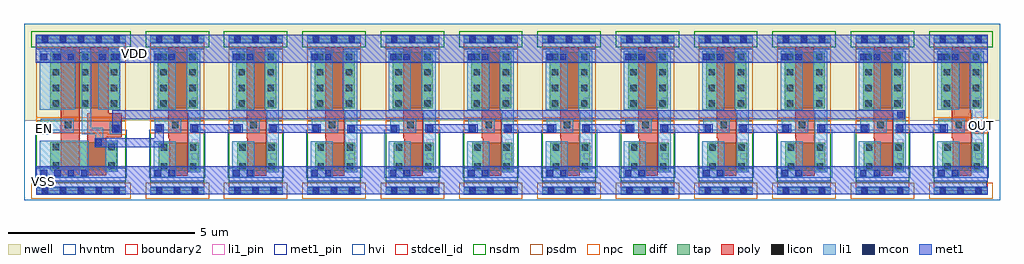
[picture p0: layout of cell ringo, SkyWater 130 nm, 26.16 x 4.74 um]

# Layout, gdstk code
import gdstk
lib = gdstk.Library(unit=1e-6, precision=1e-08)
def R(c, l, rs):  # rectangles x0, y0, x1, y1
    for r in rs: c.add(gdstk.rectangle(r[:2], r[2:], *l))
def A(c, l, x, y, w, h, nx, ny, dx, dy):  # array of equal rectangles
    R(c, l, [(x+i*dx, y+j*dy, x+i*dx+w, y+j*dy+h) for i in range(nx) for j in range(ny)])
def P(c, l, *ps):  # polygons
    for p in ps: c.add(gdstk.Polygon(p, *l))
nwell = (64, 20)
diff = (65, 20)
tap = (65, 44)
poly = (66, 20)
licon = (66, 44)
li1_pin = (67, 16)
li1 = (67, 20)
mcon = (67, 44)
met1_pin = (68, 16)
met1 = (68, 20)
hvi = (75, 20)
stdcell_id = (81, 4)
nsdm = (93, 44)
psdm = (94, 20)
npc = (95, 20)
hvntm = (125, 20)
boundary2 = (236, 0)

sky130_fd_sc_hvl__nand2_ = lib.new_cell('sky130_fd_sc_hvl__nand2_1')
R(sky130_fd_sc_hvl__nand2_, nwell, [(-0.33,1.88,2.73,4.48)])
R(sky130_fd_sc_hvl__nand2_, diff, [(0.38,0.55,2.16,1.3), (0.38,2.21,2.23,3.71)])
R(sky130_fd_sc_hvl__nand2_, tap, [(0,-0.08,2.4,0.08), (0,3.98,2.4,4.15)])
R(sky130_fd_sc_hvl__nand2_, poly, [(0.66,0.42,1.16,3.84)])
P(sky130_fd_sc_hvl__nand2_, poly, [(1.37,0.42),(1.37,2.08),(1.44,2.08),(1.44,3.84),(1.94,3.84),(1.94,2.08),(2.29,2.08),(2.29,1.43),(1.87,1.43),(1.87,0.42)])
A(sky130_fd_sc_hvl__nand2_, licon, 0.15, -0.08, 0.17, 0.16, 5, 1, 0.48, 0)
A(sky130_fd_sc_hvl__nand2_, licon, 0.44, 2.25, 0.17, 0.17, 3, 3, 0.78, 0.42)
A(sky130_fd_sc_hvl__nand2_, licon, 0.44, 3.5, 0.17, 0.17, 3, 1, 0.78, 0)
A(sky130_fd_sc_hvl__nand2_, licon, 0.15, 3.98, 0.17, 0.17, 5, 1, 0.48, 0)
R(sky130_fd_sc_hvl__nand2_, licon, [(0.44,0.59,0.61,0.76), (1.93,0.59,2.1,0.76), (0.44,1.09,0.61,1.26), (1.93,1.09,2.1,1.26), (2.02,1.6,2.19,1.77), (0.76,1.68,0.93,1.85)])
R(sky130_fd_sc_hvl__nand2_, li1_pin, [(1.59,1.21,1.76,1.38), (0.15,1.58,0.32,1.75), (0.63,1.58,0.8,1.75), (2.07,1.58,2.24,1.75)])
R(sky130_fd_sc_hvl__nand2_, li1, [(0,-0.08,2.4,0.08), (0.09,0.36,1.4,1.34), (1.97,1.52,2.27,1.85), (0.12,1.55,1.01,1.93), (0.09,2.17,1.04,3.75), (1.66,2.17,2.25,3.75), (0,3.98,2.4,4.15)])
P(sky130_fd_sc_hvl__nand2_, li1, [(1.85,0.51),(1.85,1.17),(1.58,1.17),(1.58,1.52),(1.22,1.52),(1.22,3.75),(1.47,3.75),(1.47,1.69),(1.79,1.69),(1.79,1.34),(2.18,1.34),(2.18,0.51)])
A(sky130_fd_sc_hvl__nand2_, mcon, 0.12, 0.39, 0.17, 0.17, 4, 1, 0.36, 0)
A(sky130_fd_sc_hvl__nand2_, mcon, 0.12, 3.5, 0.17, 0.17, 3, 1, 0.36, 0)
R(sky130_fd_sc_hvl__nand2_, mcon, [(0.15,-0.08,0.32,0.08), (0.15,-0.08,0.32,0.08), (0.63,-0.08,0.8,0.08), (0.63,-0.08,0.8,0.08), (1.11,-0.08,1.28,0.08), (1.11,-0.08,1.28,0.08), (1.59,-0.08,1.76,0.08), (1.59,-0.08,1.76,0.08), (2.07,-0.08,2.24,0.08), (2.07,-0.08,2.24,0.08), (1.69,3.5,1.86,3.67), (2.05,3.5,2.22,3.67), (0.15,3.98,0.32,4.15), (0.15,3.98,0.32,4.15), (0.63,3.98,0.8,4.15), (0.63,3.98,0.8,4.15), (1.11,3.98,1.28,4.15), (1.11,3.98,1.28,4.15), (1.59,3.98,1.76,4.15), (1.59,3.98,1.76,4.15), (2.07,3.98,2.24,4.15), (2.07,3.98,2.24,4.15)])
R(sky130_fd_sc_hvl__nand2_, met1_pin, [(0,0,2.4,0.11), (0,0.25,2.4,0.62), (0,3.44,2.4,3.81), (0,3.95,2.4,4.07)])
R(sky130_fd_sc_hvl__nand2_, met1, [(0,-0.11,2.4,0.11), (0,0.25,2.4,0.62), (0,3.44,2.4,3.81), (0,3.95,2.4,4.18)])
R(sky130_fd_sc_hvl__nand2_, hvi, [(-0.33,-0.26,2.73,4.48)])
R(sky130_fd_sc_hvl__nand2_, stdcell_id, [(0,0,2.4,4.07)])
R(sky130_fd_sc_hvl__nand2_, nsdm, [(0,0.21,2.4,1.88), (-0.13,3.85,2.53,4.28), (0,3.85,2.4,4.07)])
R(sky130_fd_sc_hvl__nand2_, psdm, [(-0.13,-0.21,2.53,0.21)])
P(sky130_fd_sc_hvl__nand2_, psdm, [(0,1.88),(0,3.85),(2.4,3.85),(2.4,1.88),(1.04,1.88),(1.04,1.96),(0.65,1.96),(0.65,1.88)])
P(sky130_fd_sc_hvl__nand2_, npc, [(1.92,1.5),(1.92,1.54),(0,1.54),(0,1.97),(2.4,1.97),(2.4,1.5)])
R(sky130_fd_sc_hvl__nand2_, hvntm, [(-0.03,0.35,2.43,1.64)])
R(sky130_fd_sc_hvl__nand2_, boundary2, [(0,0,2.4,4.07)])
sky130_fd_sc_hvl__nand2_.add(gdstk.Label('A', (2.16,1.66), layer=67, texttype=5))
sky130_fd_sc_hvl__nand2_.add(gdstk.Label('Y', (1.68,1.29), layer=67, texttype=5))
sky130_fd_sc_hvl__nand2_.add(gdstk.Label('B', (0.24,1.66), layer=67, texttype=5))
sky130_fd_sc_hvl__nand2_.add(gdstk.Label('B', (0.72,1.66), layer=67, texttype=5))
sky130_fd_sc_hvl__nand2_.add(gdstk.Label('nand2_1', (0,0), layer=83, texttype=44))
sky130_fd_sc_hvl__nand2_.add(gdstk.Label('VGND', (1.2,0.44), layer=68, texttype=5))
sky130_fd_sc_hvl__nand2_.add(gdstk.Label('VNB', (1.2,0.06), layer=68, texttype=5))
sky130_fd_sc_hvl__nand2_.add(gdstk.Label('VPWR', (1.2,3.63), layer=68, texttype=5))
sky130_fd_sc_hvl__nand2_.add(gdstk.Label('VPB', (1.2,4.01), layer=68, texttype=5))

sky130_fd_sc_hvl__inv_1 = lib.new_cell('sky130_fd_sc_hvl__inv_1')
R(sky130_fd_sc_hvl__inv_1, nwell, [(-0.33,1.88,1.77,4.48)])
R(sky130_fd_sc_hvl__inv_1, diff, [(0.22,0.53,1.29,1.28), (0.2,2.21,1.27,3.71)])
R(sky130_fd_sc_hvl__inv_1, tap, [(0,-0.08,1.44,0.08), (0,3.98,1.44,4.15)])
P(sky130_fd_sc_hvl__inv_1, poly, [(0.5,0.4),(0.5,1.41),(0.48,1.41),(0.48,3.84),(0.98,3.84),(0.98,2.08),(1,2.08),(1,0.4)])
A(sky130_fd_sc_hvl__inv_1, licon, 0.15, -0.08, 0.17, 0.16, 3, 1, 0.48, 0)
A(sky130_fd_sc_hvl__inv_1, licon, 0.26, 2.25, 0.17, 0.17, 1, 3, 0, 0.42)
A(sky130_fd_sc_hvl__inv_1, licon, 1.04, 2.25, 0.17, 0.17, 1, 3, 0, 0.42)
A(sky130_fd_sc_hvl__inv_1, licon, 0.15, 3.98, 0.17, 0.17, 3, 1, 0.48, 0)
R(sky130_fd_sc_hvl__inv_1, licon, [(0.28,0.57,0.45,0.74), (1.06,0.57,1.23,0.74), (0.28,1.07,0.45,1.24), (1.06,1.07,1.23,1.24), (0.58,1.68,0.75,1.85), (0.26,3.5,0.43,3.67), (1.04,3.5,1.21,3.67)])
A(sky130_fd_sc_hvl__inv_1, li1_pin, 0.15, 1.58, 0.17, 0.17, 3, 1, 0.48, 0)
A(sky130_fd_sc_hvl__inv_1, li1_pin, 1.11, 1.95, 0.17, 0.17, 1, 4, 0, 0.37)
R(sky130_fd_sc_hvl__inv_1, li1_pin, [(1.11,0.84,1.28,1.01), (1.11,1.21,1.28,1.38)])
R(sky130_fd_sc_hvl__inv_1, li1, [(0,-0.08,1.44,0.08), (0.09,0.36,0.68,1.32), (0.12,1.55,0.83,1.93), (0.09,2.17,0.68,3.75), (0,3.98,1.44,4.15)])
P(sky130_fd_sc_hvl__inv_1, li1, [(1.01,0.49),(1.01,2.17),(0.96,2.17),(0.96,3.75),(1.34,3.75),(1.34,0.49)])
R(sky130_fd_sc_hvl__inv_1, mcon, [(0.15,-0.08,0.32,0.08), (0.15,-0.08,0.32,0.08), (0.63,-0.08,0.8,0.08), (0.63,-0.08,0.8,0.08), (1.11,-0.08,1.28,0.08), (1.11,-0.08,1.28,0.08), (0.12,0.39,0.29,0.56), (0.48,0.39,0.65,0.56), (0.12,3.5,0.29,3.67), (0.48,3.5,0.65,3.67), (0.15,3.98,0.32,4.15), (0.15,3.98,0.32,4.15), (0.63,3.98,0.8,4.15), (0.63,3.98,0.8,4.15), (1.11,3.98,1.28,4.15), (1.11,3.98,1.28,4.15)])
R(sky130_fd_sc_hvl__inv_1, met1_pin, [(0,0,1.44,0.11), (0,0.25,1.44,0.62), (0,3.44,1.44,3.81), (0,3.95,1.44,4.07)])
R(sky130_fd_sc_hvl__inv_1, met1, [(0,-0.11,1.44,0.11), (0,0.25,1.44,0.62), (0,3.44,1.44,3.81), (0,3.95,1.44,4.18)])
R(sky130_fd_sc_hvl__inv_1, hvi, [(-0.33,-0.26,1.77,4.48)])
R(sky130_fd_sc_hvl__inv_1, stdcell_id, [(0,0,1.44,4.07)])
R(sky130_fd_sc_hvl__inv_1, nsdm, [(0,0.21,1.44,1.88), (-0.13,3.85,1.57,4.28), (0,3.85,1.44,4.07)])
R(sky130_fd_sc_hvl__inv_1, psdm, [(-0.13,-0.21,1.57,0.21)])
P(sky130_fd_sc_hvl__inv_1, psdm, [(0,1.88),(0,3.85),(1.44,3.85),(1.44,1.88),(0.86,1.88),(0.86,1.96),(0.47,1.96),(0.47,1.88)])
R(sky130_fd_sc_hvl__inv_1, npc, [(0,1.54,1.44,1.97)])
R(sky130_fd_sc_hvl__inv_1, hvntm, [(-0.03,0.35,1.47,1.64)])
R(sky130_fd_sc_hvl__inv_1, boundary2, [(0,0,1.44,4.07)])
sky130_fd_sc_hvl__inv_1.add(gdstk.Label('A', (0.24,1.66), layer=67, texttype=5))
sky130_fd_sc_hvl__inv_1.add(gdstk.Label('A', (0.72,1.66), layer=67, texttype=5))
sky130_fd_sc_hvl__inv_1.add(gdstk.Label('Y', (1.2,0.92), layer=67, texttype=5))
sky130_fd_sc_hvl__inv_1.add(gdstk.Label('Y', (1.2,1.29), layer=67, texttype=5))
sky130_fd_sc_hvl__inv_1.add(gdstk.Label('Y', (1.2,1.66), layer=67, texttype=5))
sky130_fd_sc_hvl__inv_1.add(gdstk.Label('Y', (1.2,2.03), layer=67, texttype=5))
sky130_fd_sc_hvl__inv_1.add(gdstk.Label('Y', (1.2,2.4), layer=67, texttype=5))
sky130_fd_sc_hvl__inv_1.add(gdstk.Label('Y', (1.2,2.77), layer=67, texttype=5))
sky130_fd_sc_hvl__inv_1.add(gdstk.Label('Y', (1.2,3.14), layer=67, texttype=5))
sky130_fd_sc_hvl__inv_1.add(gdstk.Label('inv_1', (0,0), layer=83, texttype=44))
sky130_fd_sc_hvl__inv_1.add(gdstk.Label('VGND', (0.72,0.44), layer=68, texttype=5))
sky130_fd_sc_hvl__inv_1.add(gdstk.Label('VNB', (0.72,0.06), layer=68, texttype=5))
sky130_fd_sc_hvl__inv_1.add(gdstk.Label('VPWR', (0.72,3.63), layer=68, texttype=5))
sky130_fd_sc_hvl__inv_1.add(gdstk.Label('VPB', (0.72,4.01), layer=68, texttype=5))

ringo = lib.new_cell('ringo')
R(ringo, mcon, [(0.54,0.98,0.71,1.15), (7.32,1.34,7.49,1.51), (8.46,1.34,8.63,1.51), (-0.9,1.35,-0.73,1.52), (1.02,1.35,1.19,1.52), (2.16,1.35,2.33,1.52), (3.12,1.35,3.29,1.52), (4.26,1.35,4.43,1.52), (5.22,1.35,5.39,1.52), (6.36,1.35,6.53,1.52), (9.42,1.35,9.59,1.52), (10.56,1.35,10.73,1.52), (11.52,1.35,11.69,1.52), (12.66,1.35,12.83,1.52), (13.62,1.35,13.79,1.52), (14.76,1.35,14.93,1.52), (15.72,1.35,15.89,1.52), (16.86,1.35,17.03,1.52), (17.82,1.35,17.99,1.52), (18.96,1.35,19.13,1.52), (19.92,1.35,20.09,1.52), (21.06,1.35,21.23,1.52), (22.02,1.35,22.19,1.52), (23.16,1.35,23.33,1.52), (24.12,1.35,24.29,1.52), (22.02,1.72,22.19,1.89)])
R(ringo, met1_pin, [(-0.97,1.29,-0.67,1.59), (24.06,1.3,24.36,1.6)])
A(ringo, met1, 9.38, 1.32, 1.4, 0.23, 7, 1, 2.1, 0)
R(ringo, met1, [(-1.05,-0.33,24.43,0.42), (7.28,1.31,8.68,1.54), (3.08,1.32,4.48,1.55), (5.18,1.32,6.58,1.55), (-1.07,3.2,24.45,3.95)])
ringo.add(gdstk.FlexPath([(22.23,1.81),(1.1,1.81),(1.1,1.32)], 0.24, ends="flush", simple_path=True, layer=68, datatype=20))  # met1
ringo.add(gdstk.FlexPath([(0.51,1.06),(2.25,1.06),(2.25,1.55)], 0.24, ends="flush", simple_path=True, layer=68, datatype=20))  # met1
ringo.add(gdstk.Reference(sky130_fd_sc_hvl__nand2_, (-1.05,-0.23)))
r = gdstk.Reference(sky130_fd_sc_hvl__inv_1, (2.01,-0.23)); r.repetition = gdstk.Repetition(11, 1, v1=(2.1,0), v2=(0,0)); ringo.add(r)
ringo.add(gdstk.Label('VSS', (-0.86,0.02), layer=68, texttype=5))
ringo.add(gdstk.Label('OUT', (24.29,1.51), layer=68, texttype=5))
ringo.add(gdstk.Label('VDD', (1.58,3.44), layer=68, texttype=5))
ringo.add(gdstk.Label('EN', (-0.84,1.45), layer=68, texttype=5))

lib.write_gds('ringo.gds')
